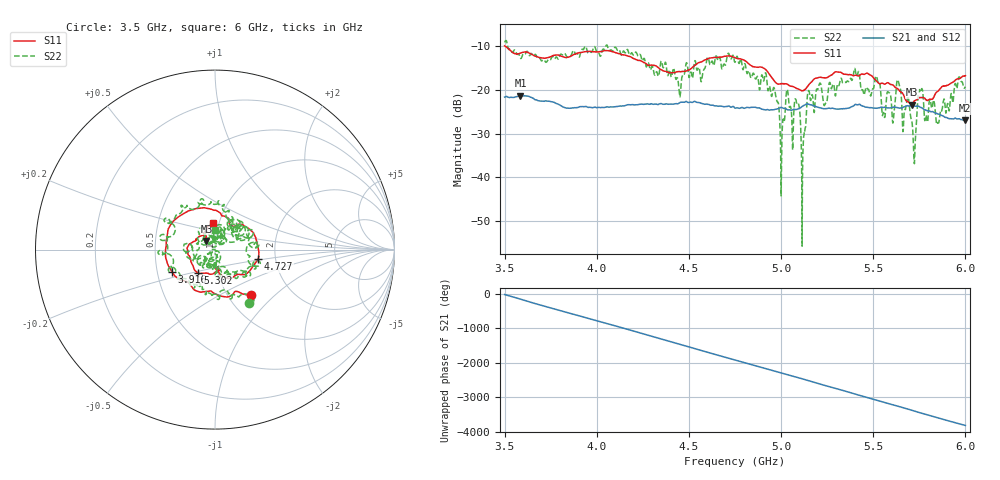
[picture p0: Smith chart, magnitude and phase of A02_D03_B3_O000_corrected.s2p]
! Created with skrf 1.9.0 (http://scikit-rf.org).
# Hz S RI R 50.0
!freq ReS11 ImS11 ReS21 ImS21 ReS12 ImS12 ReS22 ImS22
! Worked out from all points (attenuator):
!   1601 points, 3.5 GHz to 6 GHz, reference 50 ohm
!   highest |S21| = -21.26 dB at 3.586 GHz (marker M1); lowest = -26.9 dB at 5.995 GHz (marker M2)
!   lowest |S11| = -23.4 dB at 5.708 GHz (marker M3), VSWR 1.15, Z = 45.3 + j4.43 ohm
!   |S11| at or under -10 dB: 3.506 GHz to end of sweep
!   |S22| runs from -55.7 to -8.6 dB; largest |S21 - S12| = 0.00098
!   S11 on the Smith chart (normalised r, x): 3.5 GHz: 1.27, -0.72; 3.916 GHz: 0.60, -0.16; 4.727 GHz: 1.62, -0.18; 5.302 GHz: 0.80, -0.21; 6 GHz: 0.94, +0.28
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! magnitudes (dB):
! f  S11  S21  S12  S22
! 3.5 GHz  -9.9  -21.6  -21.6  -9.1
! 3.586 GHz  -11.5  -21.3  -21.2  -12.7
! 3.916 GHz  -11.4  -23.8  -23.8  -10.9
! 3.917 GHz  -11.4  -23.8  -23.8  -10.8
! 4.334 GHz  -14.9  -23.3  -23.2  -16.8
! 4.727 GHz  -12.2  -23.9  -23.8  -13.0
! 4.75 GHz  -12.6  -24.1  -24.0  -13.6
! 4.966 GHz  -18.0  -24.4  -24.4  -20.0
! 5.005 GHz  -18.5  -24.0  -24.0  -30.6
! 5.033 GHz  -18.6  -24.5  -24.4  -19.8
! 5.086 GHz  -19.6  -24.4  -24.4  -23.0
! 5.119 GHz  -20.1  -23.6  -23.5  -33.9
! 5.167 GHz  -18.0  -23.4  -23.4  -21.1
! 5.302 GHz  -15.8  -24.3  -24.3  -19.5
! 5.584 GHz  -18.4  -24.1  -24.1  -20.5
! 5.638 GHz  -19.9  -24.1  -24.0  -18.2
! 5.708 GHz  -23.4  -23.7  -23.7  -26.9
! 5.725 GHz  -22.4  -23.6  -23.6  -35.0
! 5.756 GHz  -21.7  -23.9  -23.9  -20.5
! 5.85 GHz  -20.3  -25.5  -25.4  -27.4
! 5.995 GHz  -16.7  -26.9  -26.9  -19.5
! 6 GHz  -16.7  -26.9  -26.9  -19.2
